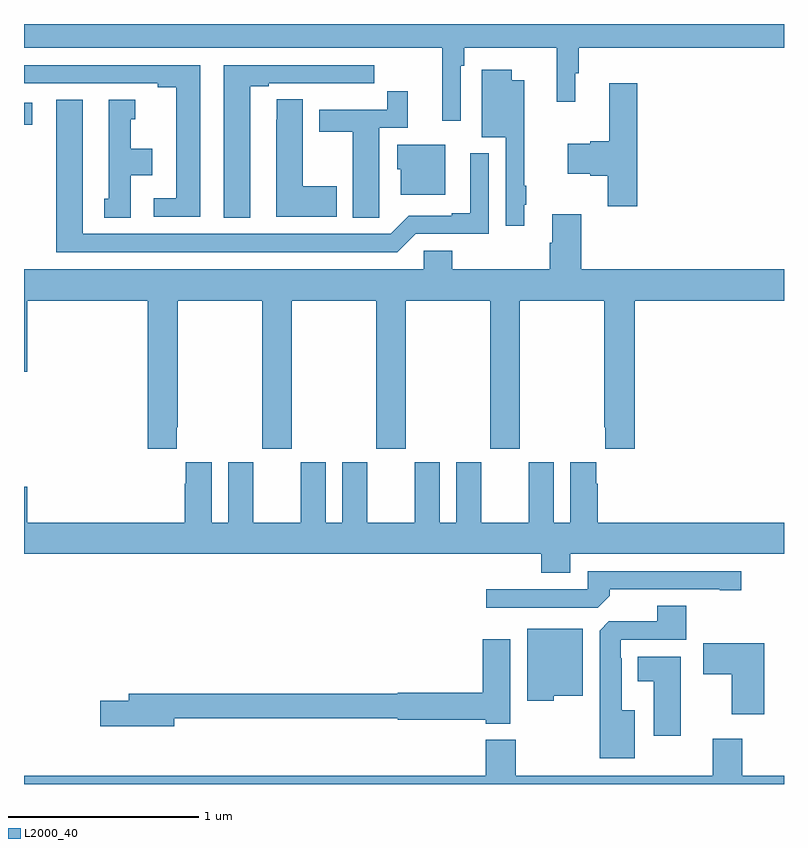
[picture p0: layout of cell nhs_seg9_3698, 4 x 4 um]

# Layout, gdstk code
import gdstk
lib = gdstk.Library(unit=1e-6, precision=1e-09)
def R(c, l, rs):  # rectangles x0, y0, x1, y1
    for r in rs: c.add(gdstk.rectangle(r[:2], r[2:], *l))
def P(c, l, *ps):  # polygons
    for p in ps: c.add(gdstk.Polygon(p, *l))
L2000_40 = (2000, 40)

nhs_seg9_3698 = lib.new_cell('nhs_seg9_3698')
R(nhs_seg9_3698, L2000_40, [(321,1239.97,321.043,1240.086)])
P(nhs_seg9_3698, L2000_40, [(323.298,1240.28),(323.318,1240.28),(323.318,1240.376),(323.803,1240.376),(323.803,1240.092),(323.902,1240.092),(323.902,1240.242),(323.921,1240.242),(323.921,1240.376),(325,1240.376),(325,1240.5),(321,1240.5),(321,1240.376),(323.201,1240.376),(323.201,1239.99),(323.298,1239.99)],
  [(321.928,1240.284),(321,1240.284),(321,1240.188),(321.704,1240.188),(321.704,1240.168),(321.8,1240.168),(321.8,1239.582),(321.684,1239.582),(321.684,1239.486),(321.928,1239.486)],
  [(322.192,1240.173),(322.288,1240.173),(322.288,1240.188),(322.564,1240.188),(322.564,1240.187),(322.73,1240.187),(322.73,1240.188),(322.843,1240.188),(322.843,1240.284),(322.052,1240.284),(322.052,1239.481),(322.192,1239.481)],
  [(323.632,1239.55),(323.644,1239.55),(323.644,1239.65),(323.634,1239.65),(323.634,1239.909),(323.632,1239.909),(323.632,1240.204),(323.566,1240.204),(323.566,1240.258),(323.408,1240.258),(323.408,1239.905),(323.535,1239.905),(323.535,1239.438),(323.632,1239.438)],
  [(324.227,1240.189),(324.08,1240.189),(324.08,1239.884),(323.979,1239.884),(323.979,1239.871),(323.862,1239.871),(323.862,1239.713),(323.979,1239.713),(323.979,1239.701),(324.073,1239.701),(324.073,1239.54),(324.227,1239.54)],
  [(322.869,1239.592),(322.87,1239.592),(322.87,1239.954),(323.021,1239.954),(323.021,1240.147),(322.912,1240.147),(322.912,1240.05),(322.553,1240.05),(322.553,1239.934),(322.73,1239.934),(322.73,1239.481),(322.869,1239.481)],
  [(322.645,1239.645),(322.468,1239.645),(322.468,1240.103),(322.329,1240.103),(322.329,1239.995),(322.328,1239.995),(322.328,1239.485),(322.645,1239.485)],
  [(321.562,1239.704),(321.676,1239.704),(321.676,1239.844),(321.562,1239.844),(321.562,1239.999),(321.586,1239.999),(321.586,1240.102),(321.446,1240.102),(321.446,1239.579),(321.422,1239.579),(321.422,1239.481),(321.562,1239.481)],
  [(323.061,1239.396),(323.445,1239.396),(323.445,1239.82),(323.348,1239.82),(323.348,1239.505),(323.252,1239.505),(323.252,1239.492),(323.025,1239.492),(322.929,1239.396),(321.31,1239.396),(321.31,1240.102),(321.17,1240.102),(321.17,1239.3),(322.965,1239.3)],
  [(323.218,1239.865),(322.964,1239.865),(322.964,1239.735),(322.982,1239.735),(322.982,1239.602),(323.218,1239.602)],
  [(321.805,1238.377),(321.81,1238.377),(321.81,1239.044),(322.255,1239.044),(322.255,1238.265),(322.41,1238.265),(322.41,1239.044),(322.855,1239.044),(322.855,1238.265),(323.01,1238.265),(323.01,1239.044),(323.455,1239.044),(323.455,1238.265),(323.61,1238.265),(323.61,1239.044),(324.055,1239.044),(324.055,1238.377),(324.059,1238.377),(324.059,1238.265),(324.215,1238.265),(324.215,1239.044),(325,1239.044),(325,1239.208),(323.933,1239.208),(323.933,1239.499),(323.78,1239.499),(323.78,1239.35),(323.768,1239.35),(323.768,1239.208),(323.255,1239.208),(323.255,1239.306),(323.103,1239.306),(323.103,1239.208),(321,1239.208),(321,1238.67),(321.016,1238.67),(321.016,1239.044),(321.65,1239.044),(321.65,1238.265),(321.805,1238.265)],
  [(323.875,1237.712),(325,1237.712),(325,1237.876),(324.02,1237.876),(324.02,1238.081),(324.013,1238.081),(324.013,1238.194),(323.876,1238.194),(323.876,1237.876),(323.788,1237.876),(323.788,1238.194),(323.657,1238.194),(323.657,1237.876),(323.407,1237.876),(323.407,1238.194),(323.276,1238.194),(323.276,1237.876),(323.188,1237.876),(323.188,1238.194),(323.057,1238.194),(323.057,1237.876),(322.807,1237.876),(322.807,1238.194),(322.676,1238.194),(322.676,1237.876),(322.588,1237.876),(322.588,1238.194),(322.457,1238.194),(322.457,1237.876),(322.207,1237.876),(322.207,1238.194),(322.076,1238.194),(322.076,1237.876),(321.988,1237.876),(321.988,1238.194),(321.851,1238.194),(321.851,1238.081),(321.845,1238.081),(321.845,1237.876),(321.016,1237.876),(321.016,1238.065),(321,1238.065),(321,1237.712),(323.723,1237.712),(323.723,1237.613),(323.875,1237.613)],
  [(324.083,1237.49),(324.083,1237.524),(324.662,1237.524),(324.662,1237.519),(324.775,1237.519),(324.775,1237.62),(323.967,1237.62),(323.967,1237.524),(323.433,1237.524),(323.433,1237.428),(324.021,1237.428)],
  [(324.214,1236.889),(324.145,1236.889),(324.145,1237.163),(324.141,1237.163),(324.141,1237.26),(324.485,1237.26),(324.485,1237.439),(324.332,1237.439),(324.332,1237.356),(324.078,1237.356),(324.029,1237.307),(324.029,1236.635),(324.214,1236.635)],
  [(323.787,1236.965),(323.941,1236.965),(323.941,1237.318),(323.648,1237.318),(323.648,1236.938),(323.787,1236.938)],
  [(321.79,1236.846),(322.968,1236.846),(322.968,1236.838),(323.43,1236.838),(323.43,1236.818),(323.56,1236.818),(323.56,1237.261),(323.414,1237.261),(323.414,1236.98),(322.968,1236.98),(322.968,1236.974),(321.551,1236.974),(321.551,1236.938),(321.402,1236.938),(321.402,1236.803),(321.79,1236.803)],
  [(324.896,1237.24),(324.576,1237.24),(324.576,1237.078),(324.725,1237.078),(324.725,1236.867),(324.896,1236.867)],
  [(324.457,1237.171),(324.23,1237.171),(324.23,1237.04),(324.314,1237.04),(324.314,1236.753),(324.457,1236.753)],
  [(325,1236.544),(324.779,1236.544),(324.779,1236.739),(324.626,1236.739),(324.626,1236.544),(323.589,1236.544),(323.589,1236.733),(323.429,1236.733),(323.429,1236.544),(321,1236.544),(321,1236.5),(325,1236.5)])

lib.write_gds('nhs_seg9_3698.gds')
